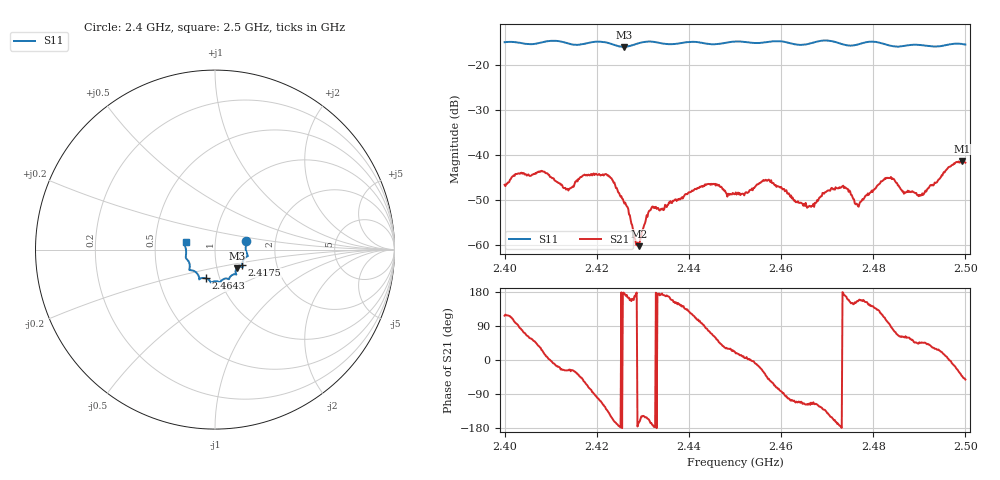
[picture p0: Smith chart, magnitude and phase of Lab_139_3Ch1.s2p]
# Hz S RI R 50
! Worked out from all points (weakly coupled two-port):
!   601 points, 2.4 GHz to 2.5 GHz, reference 50 ohm
!   highest |S21| = -41.28 dB at 2.4993 GHz (marker M1); lowest = -60.2 dB at 2.4292 GHz (marker M2)
!   lowest |S11| = -15.9 dB at 2.4258 GHz (marker M3), VSWR 1.38, Z = 62.3 - j13.3 ohm
!   |S11| at or under -10 dB: start of sweep to end of sweep
!   S12 and S22 are empty: the file has one direction only
!   S11 on the Smith chart (normalised r, x): 2.4 GHz: 1.41, +0.14; 2.4175 GHz: 1.34, -0.23; 2.4643 GHz: 0.86, -0.28; 2.5 GHz: 0.72, +0.06
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2.4e9  0.1734 0.0485  -0.00212 0.00417  0 0  0 0
2.408167e9  0.1785 -0.0229  0.00603 0.00285  0 0  0 0
2.413833e9  0.1676 -0.0459  0.0036 -0.00185  0 0  0 0
2.416667e9  0.1529 -0.0745  0.00393 -0.00415  0 0  0 0
2.4175e9  0.152 -0.084  0.00299 -0.00521  0 0  0 0
2.422333e9  0.1498 -0.095  -0.00414 -0.00426  0 0  0 0
2.425833e9  0.1215 -0.1037  -0.00305 0.000122  0 0  0 0
2.428667e9  0.115 -0.1289  -0.000997 3.3e-05  0 0  0 0
2.429167e9  0.1156 -0.1323  -0.000939 -0.000262  0 0  0 0
2.431667e9  0.1189 -0.1391  -0.00238 -0.000572  0 0  0 0
2.433333e9  0.1128 -0.1375  -0.00257 0.000309  0 0  0 0
2.444e9  0.0631 -0.1607  0.000738 0.00469  0 0  0 0
2.45e9  0.0287 -0.181  0.00347 0.00133  0 0  0 0
2.457e9  -0.014 -0.1801  0.00361 -0.00374  0 0  0 0
2.464333e9  -0.0499 -0.1604  -0.00102 -0.00278  0 0  0 0
2.466667e9  -0.0758 -0.1591  -0.00119 -0.00245  0 0  0 0
2.4735e9  -0.0941 -0.1414  -0.00457 0.000354  0 0  0 0
2.476667e9  -0.1232 -0.1168  -0.00247 0.00115  0 0  0 0
2.483333e9  -0.1403 -0.0895  -0.000691 0.00552  0 0  0 0
2.490333e9  -0.1626 -0.0391  0.00253 0.00255  0 0  0 0
2.499333e9  -0.1671 0.039  0.00633 -0.00586  0 0  0 0
2.5e9  -0.164 0.0428  0.00513 -0.00647  0 0  0 0
